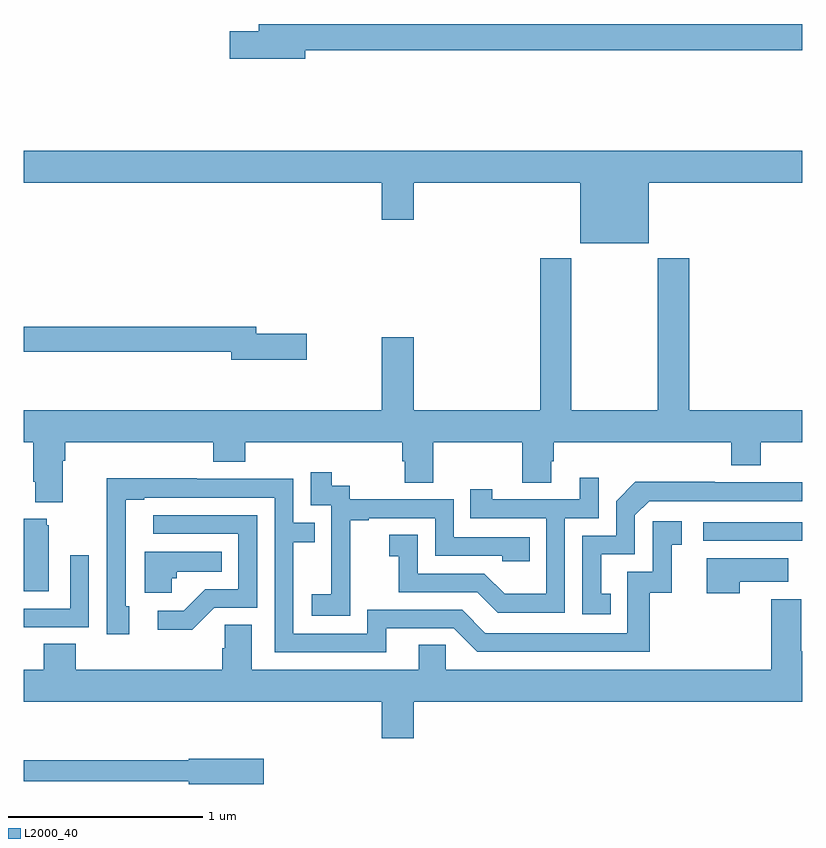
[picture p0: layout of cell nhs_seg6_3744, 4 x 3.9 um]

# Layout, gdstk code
import gdstk
lib = gdstk.Library(unit=1e-6, precision=1e-09)
def R(c, l, rs):  # rectangles x0, y0, x1, y1
    for r in rs: c.add(gdstk.rectangle(r[:2], r[2:], *l))
def P(c, l, *ps):  # polygons
    for p in ps: c.add(gdstk.Polygon(p, *l))
L2000_40 = (2000, 40)

nhs_seg6_3744 = lib.new_cell('nhs_seg6_3744')
R(nhs_seg6_3744, L2000_40, [(334.491,950.826,335,950.922)])
P(nhs_seg6_3744, L2000_40, [(332.446,953.344),(335,953.344),(335,953.48),(332.207,953.48),(332.207,953.444),(332.058,953.444),(332.058,953.302),(332.446,953.302)],
  [(334.21,952.664),(335,952.664),(335,952.828),(331,952.828),(331,952.664),(332.84,952.664),(332.84,952.476),(333.004,952.476),(333.004,952.664),(333.86,952.664),(333.86,952.355),(334.21,952.355)],
  [(331.201,951.236),(331.214,951.236),(331.214,951.332),(331.973,951.332),(331.973,951.233),(332.138,951.233),(332.138,951.332),(332.945,951.332),(332.945,951.234),(332.957,951.234),(332.957,951.124),(333.105,951.124),(333.105,951.332),(333.562,951.332),(333.562,951.124),(333.709,951.124),(333.709,951.234),(333.722,951.234),(333.722,951.332),(334.634,951.332),(334.634,951.215),(334.786,951.215),(334.786,951.332),(335,951.332),(335,951.496),(334.418,951.496),(334.418,952.276),(334.258,952.276),(334.258,951.496),(333.813,951.496),(333.813,952.276),(333.653,952.276),(333.653,951.496),(333.004,951.496),(333.004,951.871),(332.84,951.871),(332.84,951.496),(331,951.496),(331,951.332),(331.049,951.332),(331.049,951.13),(331.061,951.13),(331.061,951.023),(331.201,951.023)],
  [(332.455,951.89),(332.194,951.89),(332.194,951.926),(331,951.926),(331,951.798),(332.066,951.798),(332.066,951.755),(332.455,951.755)],
  [(332.679,950.647),(332.678,950.647),(332.678,950.931),(332.773,950.931),(332.773,950.943),(333.114,950.943),(333.114,950.748),(333.459,950.748),(333.459,950.721),(333.599,950.721),(333.599,950.844),(333.21,950.844),(333.21,951.039),(332.676,951.039),(332.676,951.108),(332.584,951.108),(332.584,951.178),(332.475,951.178),(332.475,951.009),(332.58,951.009),(332.58,950.78),(332.579,950.78),(332.579,950.551),(332.481,950.551),(332.481,950.441),(332.679,950.441)],
  [(333.78,950.943),(333.954,950.943),(333.954,951.151),(333.857,951.151),(333.857,951.039),(333.406,951.039),(333.406,951.091),(333.295,951.091),(333.295,950.943),(333.684,950.943),(333.684,950.554),(333.47,950.554),(333.366,950.658),(333.024,950.658),(333.024,950.857),(332.877,950.857),(332.877,950.747),(332.926,950.747),(332.926,950.562),(333.329,950.562),(333.434,950.457),(333.78,950.457)],
  [(332.863,950.376),(333.21,950.376),(333.33,950.256),(334.217,950.256),(334.217,950.559),(334.328,950.559),(334.328,950.805),(334.381,950.805),(334.381,950.926),(334.23,950.926),(334.23,950.667),(334.101,950.667),(334.101,950.352),(333.372,950.352),(333.252,950.472),(332.766,950.472),(332.766,950.349),(332.385,950.349),(332.385,950.818),(332.495,950.818),(332.495,950.919),(332.385,950.919),(332.385,951.144),(331.889,951.144),(331.889,951.146),(331.426,951.146),(331.426,950.839),(331.428,950.839),(331.428,950.346),(331.543,950.346),(331.543,950.49),(331.524,950.49),(331.524,951.036),(331.621,951.036),(331.621,951.048),(332.289,951.048),(332.289,950.253),(332.863,950.253)],
  [(334.016,950.553),(333.967,950.553),(333.967,950.757),(334.14,950.757),(334.14,950.958),(334.212,951.03),(335,951.03),(335,951.126),(334.55,951.126),(334.55,951.128),(334.142,951.128),(334.044,951.03),(334.044,950.853),(333.87,950.853),(333.87,950.448),(334.016,950.448)],
  [(331.98,950.481),(332.199,950.481),(332.199,950.958),(331.665,950.958),(331.665,950.862),(332.103,950.862),(332.103,950.577),(331.934,950.577),(331.823,950.466),(331.689,950.466),(331.689,950.369),(331.867,950.369)],
  [(331.129,950.907),(331.118,950.907),(331.118,950.938),(331,950.938),(331,950.567),(331.129,950.567)],
  [(331.761,950.634),(331.788,950.634),(331.788,950.666),(332.018,950.666),(332.018,950.77),(331.622,950.77),(331.622,950.558),(331.761,950.558)],
  [(331.019,950.382),(331.335,950.382),(331.335,950.752),(331.239,950.752),(331.239,950.478),(331,950.478),(331,950.381),(331.019,950.381)],
  [(334.679,950.615),(334.927,950.615),(334.927,950.737),(334.508,950.737),(334.508,950.556),(334.679,950.556)],
  [(333.004,950),(335,950),(335,950.26),(334.993,950.26),(334.993,950.527),(334.841,950.527),(334.841,950.164),(333.168,950.164),(333.168,950.291),(333.029,950.291),(333.029,950.164),(332.173,950.164),(332.173,950.396),(332.034,950.396),(332.034,950.273),(332.021,950.273),(332.021,950.164),(331.268,950.164),(331.268,950.297),(331.103,950.297),(331.103,950.164),(331,950.164),(331,950),(332.84,950),(332.84,949.812),(333.004,949.812)],
  [(332.233,949.707),(331.848,949.707),(331.848,949.699),(331,949.699),(331,949.59),(331.848,949.59),(331.848,949.577),(332.233,949.577)])

lib.write_gds('nhs_seg6_3744.gds')
